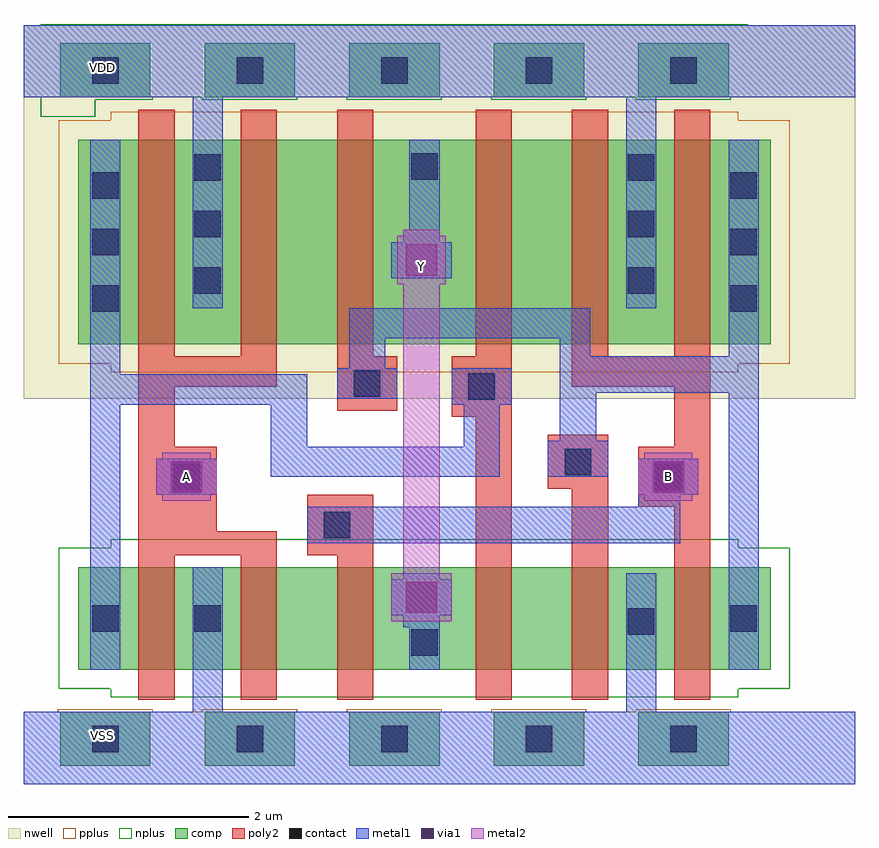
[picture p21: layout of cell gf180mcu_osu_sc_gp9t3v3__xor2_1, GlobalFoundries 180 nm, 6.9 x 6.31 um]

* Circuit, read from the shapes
.subckt gf180mcu_osu_sc_gp9t3v3__xor2_1 A B VDD VSS Y
XM1 VSS A n1 VSS nfet_03v3 w=0.85u l=0.3u
XM2 n2 A VSS VSS nfet_03v3 w=0.85u l=0.3u
XM3 Y B n2 VSS nfet_03v3 w=0.85u l=0.3u
XM4 n3 n1 Y VSS nfet_03v3 w=0.85u l=0.3u
XM5 VSS n4 n3 VSS nfet_03v3 w=0.85u l=0.3u
XM6 n4 B VSS VSS nfet_03v3 w=0.85u l=0.3u
XM7 VDD A n1 VDD pfet_03v3 w=1.7u l=0.3u
XM8 n5 A VDD VDD pfet_03v3 w=1.7u l=0.3u
XM9 Y n4 n5 VDD pfet_03v3 w=1.7u l=0.3u
XM10 n6 n1 Y VDD pfet_03v3 w=1.7u l=0.3u
XM11 VDD B n6 VDD pfet_03v3 w=1.7u l=0.3u
XM12 n4 B VDD VDD pfet_03v3 w=1.7u l=0.3u
.ends

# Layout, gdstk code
import gdstk
lib = gdstk.Library(unit=1e-6, precision=1e-09)
def R(c, l, rs):  # rectangles x0, y0, x1, y1
    for r in rs: c.add(gdstk.rectangle(r[:2], r[2:], *l))
def A(c, l, x, y, w, h, nx, ny, dx, dy):  # array of equal rectangles
    R(c, l, [(x+i*dx, y+j*dy, x+i*dx+w, y+j*dy+h) for i in range(nx) for j in range(ny)])
nwell = (21, 0)
comp = (22, 0)
poly2 = (30, 0)
pplus = (31, 0)
nplus = (32, 0)
contact = (33, 0)
metal1 = (34, 0)
via1 = (35, 0)
metal2 = (36, 0)

gf180mcu_osu_sc_gp9t3v3_ = lib.new_cell('gf180mcu_osu_sc_gp9t3v3__xor2_1')
R(gf180mcu_osu_sc_gp9t3v3_, nwell, [(0,3.2,6.9,6.3)])
A(gf180mcu_osu_sc_gp9t3v3_, comp, 0.3, 0.15, 0.75, 0.45, 5, 2, 1.2, 5.55)
R(gf180mcu_osu_sc_gp9t3v3_, comp, [(0.45,0.95,6.2,1.8), (0.45,3.65,6.2,5.35)])
R(gf180mcu_osu_sc_gp9t3v3_, poly2, [(0.95,0.7,1.25,1.9), (1.8,0.7,2.1,1.9), (2.6,0.7,2.9,1.9), (3.75,0.7,4.05,3.05), (4.55,0.7,4.85,2.45), (5.4,0.7,5.7,2.3), (0.95,1.9,2.1,2.1), (2.35,1.9,2.9,2.4), (0.95,2.1,1.6,2.8), (5.1,2.3,5.7,2.8), (4.35,2.45,4.85,2.9), (0.95,2.8,1.25,3.3), (5.4,2.8,5.7,3.3), (3.55,3.05,4.05,3.55), (2.6,3.1,3.1,3.55), (0.95,3.3,2.1,3.55), (4.55,3.3,5.7,3.55), (0.95,3.55,1.25,5.6), (1.8,3.55,2.1,5.6), (2.6,3.55,2.9,5.6), (3.75,3.55,4.05,5.6), (4.55,3.55,4.85,5.6), (5.4,3.55,5.7,5.6)])
A(gf180mcu_osu_sc_gp9t3v3_, pplus, 0.28, 0.13, 0.79, 0.49, 5, 1, 1.2, 0)
R(gf180mcu_osu_sc_gp9t3v3_, pplus, [(0,0,6.9,0.6), (0.72,3.42,5.93,3.49), (0.29,3.49,6.36,5.51), (0.72,5.51,5.93,5.58)])
A(gf180mcu_osu_sc_gp9t3v3_, nplus, 1.48, 5.68, 0.79, 0.02, 4, 1, 1.2, 0)
R(gf180mcu_osu_sc_gp9t3v3_, nplus, [(0.72,0.72,5.93,0.79), (0.29,0.79,6.36,1.96), (0.72,1.96,5.93,2.03), (0.14,5.54,0.59,5.68), (0.14,5.68,1.07,5.7), (0,5.7,6.9,6.3), (0,5.7,6.9,6.3), (0.14,6.3,6.01,6.31)])
A(gf180mcu_osu_sc_gp9t3v3_, contact, 0.565, 0.265, 0.22, 0.22, 5, 2, 1.2, 5.55)
A(gf180mcu_osu_sc_gp9t3v3_, contact, 0.565, 3.92, 0.22, 0.22, 1, 3, 0, 0.47)
A(gf180mcu_osu_sc_gp9t3v3_, contact, 5.865, 3.92, 0.22, 0.22, 1, 3, 0, 0.47)
A(gf180mcu_osu_sc_gp9t3v3_, contact, 1.415, 4.07, 0.22, 0.22, 1, 3, 0, 0.47)
A(gf180mcu_osu_sc_gp9t3v3_, contact, 5.015, 4.07, 0.22, 0.22, 1, 3, 0, 0.47)
R(gf180mcu_osu_sc_gp9t3v3_, contact, [(3.215,1.065,3.435,1.285), (5.015,1.24,5.235,1.46), (0.565,1.265,0.785,1.485), (1.415,1.265,1.635,1.485), (5.865,1.265,6.085,1.485), (2.49,2.04,2.71,2.26), (1.24,2.44,1.46,2.66), (5.24,2.44,5.46,2.66), (4.49,2.565,4.71,2.785), (3.69,3.19,3.91,3.41), (2.74,3.215,2.96,3.435), (3.215,5.015,3.435,5.235)])
R(gf180mcu_osu_sc_gp9t3v3_, metal1, [(0,0,6.9,0.6), (1.4,0.6,1.65,1.8), (5,0.6,5.25,1.75), (0.55,0.95,0.8,3.15), (3.2,0.95,3.45,1.3), (5.85,0.95,6.1,3.25), (3.15,1.3,3.45,1.4), (3.05,1.4,3.55,1.7), (3.15,1.7,3.45,1.75), (2.35,2,5.45,2.3), (5.1,2.3,5.45,2.4), (1.1,2.4,1.6,2.7), (5.1,2.4,5.6,2.7), (2.05,2.55,3.95,2.8), (4.35,2.55,4.85,2.85), (2.05,2.8,2.35,3.15), (3.65,2.8,3.95,3.15), (4.45,2.85,4.75,3.25), (0.55,3.15,2.35,3.4), (3.55,3.15,4.05,3.45), (2.6,3.2,3.1,3.45), (4.45,3.25,6.1,3.55), (0.55,3.4,0.8,5.35), (2.7,3.45,3,3.7), (4.45,3.55,4.7,3.7), (5.85,3.55,6.1,5.35), (2.7,3.7,4.7,3.95), (1.4,3.95,1.65,5.7), (5,3.95,5.25,5.7), (3.05,4.2,3.55,4.5), (3.15,4.5,3.45,4.6), (3.2,4.6,3.45,5.35), (0,5.7,6.9,6.3)])
R(gf180mcu_osu_sc_gp9t3v3_, via1, [(3.17,1.42,3.43,1.68), (1.22,2.42,1.48,2.68), (5.22,2.42,5.48,2.68), (3.17,4.22,3.43,4.48)])
R(gf180mcu_osu_sc_gp9t3v3_, metal2, [(3.05,1.35,3.55,1.75), (3.15,1.75,3.45,4.15), (1.15,2.35,1.55,2.4), (5.15,2.35,5.55,2.4), (1.1,2.4,1.6,2.7), (5.1,2.4,5.6,2.7), (1.15,2.7,1.55,2.75), (5.15,2.7,5.55,2.75), (3.1,4.15,3.5,4.55), (3.15,4.55,3.45,4.6)])
gf180mcu_osu_sc_gp9t3v3_.add(gdstk.Label('VDD', (0.65,5.95), layer=22, texttype=0))
gf180mcu_osu_sc_gp9t3v3_.add(gdstk.Label('VSS', (0.65,0.4), layer=22, texttype=0))
gf180mcu_osu_sc_gp9t3v3_.add(gdstk.Label('A', (1.35,2.55), layer=36, texttype=10))
gf180mcu_osu_sc_gp9t3v3_.add(gdstk.Label('B', (5.35,2.55), layer=36, texttype=10))
gf180mcu_osu_sc_gp9t3v3_.add(gdstk.Label('Y', (3.3,4.3), layer=36, texttype=10))

lib.write_gds('gf180mcu_osu_sc_gp9t3v3__xor2_1.gds')
